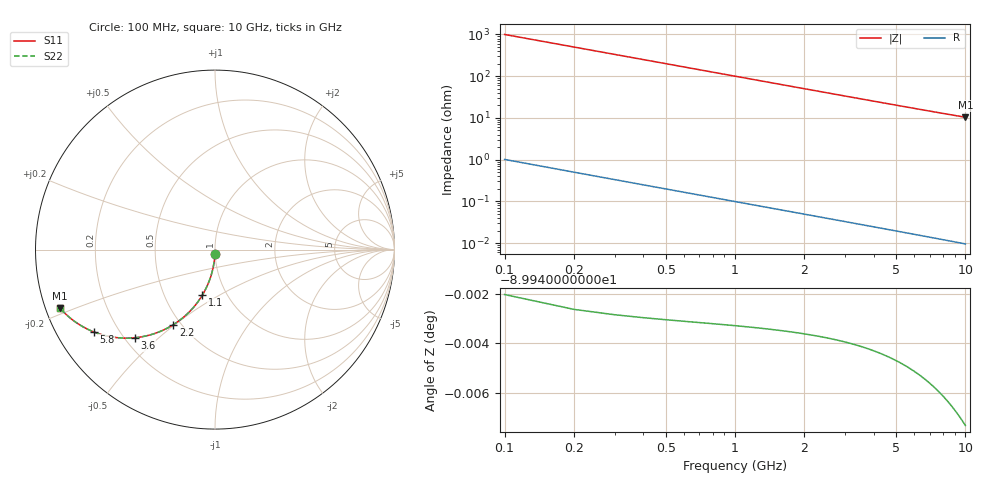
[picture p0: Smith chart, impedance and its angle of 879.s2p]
# Hz S RI R 50.00
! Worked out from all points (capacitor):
!   100 points, 100 MHz to 10 GHz, reference 50 ohm
!   read as one part in shunt: C = 1.59 pF near 100 MHz
!   lowest |Z| = 10.4 ohm at 10 GHz (marker M1)
!   S11 on the Smith chart (normalised r, x): 100 MHz: 1.00, -0.05; 1.1 GHz: 0.77, -0.42; 2.2 GHz: 0.46, -0.49; 3.6 GHz: 0.24, -0.42; 5.8 GHz: 0.11, -0.30; 10 GHz: 0.04, -0.18
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1e8  -0.000625 -0.0248  0.9993 -0.0251  0.9993 -0.0251  -0.000625 -0.0248
2e8  -0.00252 -0.0496  0.9974 -0.0502  0.9974 -0.0502  -0.00252 -0.0496
3e8  -0.00564 -0.0741  0.9943 -0.075  0.9943 -0.075  -0.00564 -0.0741
4e8  -0.00997 -0.0984  0.99 -0.0996  0.99 -0.0996  -0.00997 -0.0984
5e8  -0.0155 -0.1223  0.9845 -0.1238  0.9845 -0.1238  -0.0155 -0.1223
6e8  -0.0221 -0.1457  0.9778 -0.1475  0.9778 -0.1475  -0.0221 -0.1457
7e8  -0.0298 -0.1686  0.9701 -0.1707  0.9701 -0.1707  -0.0298 -0.1686
9e8  -0.0483 -0.2126  0.9516 -0.2153  0.9516 -0.2153  -0.0483 -0.2126
1.1e9  -0.0704 -0.2537  0.9295 -0.2571  0.9295 -0.2571  -0.0704 -0.2537
1.4e9  -0.1092 -0.3093  0.8908 -0.3135  0.8908 -0.3135  -0.1092 -0.3093
1.8e9  -0.1683 -0.3709  0.8316 -0.3764  0.8316 -0.3764  -0.1683 -0.3709
2.2e9  -0.232 -0.4182  0.768 -0.425  0.768 -0.425  -0.232 -0.4182
2.8e9  -0.3282 -0.4648  0.6717 -0.4734  0.6717 -0.4734  -0.3282 -0.4648
3.4e9  -0.4186 -0.4876  0.5813 -0.4981  0.5813 -0.4981  -0.4186 -0.4876
3.6e9  -0.4465 -0.4911  0.5533 -0.5022  0.5533 -0.5022  -0.4465 -0.4911
4.3e9  -0.5349 -0.4916  0.4649 -0.505  0.4649 -0.505  -0.5349 -0.4916
5.1e9  -0.6179 -0.4774  0.3819 -0.4933  0.3819 -0.4933  -0.6179 -0.4774
5.8e9  -0.6766 -0.4581  0.3232 -0.4764  0.3232 -0.4764  -0.6766 -0.4581
6.7e9  -0.7363 -0.4295  0.2634 -0.4506  0.2634 -0.4506  -0.7363 -0.4295
7.5e9  -0.7779 -0.4031  0.2218 -0.427  0.2218 -0.427  -0.7779 -0.4031
8.4e9  -0.8147 -0.3744  0.1848 -0.4013  0.1848 -0.4013  -0.8147 -0.3744
1e10  -0.8621 -0.3278  0.1373 -0.3601  0.1373 -0.3601  -0.8621 -0.3278
